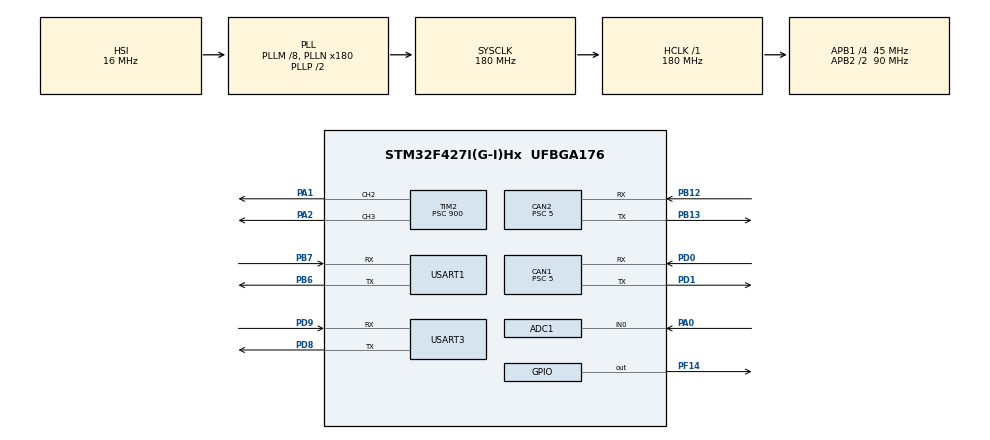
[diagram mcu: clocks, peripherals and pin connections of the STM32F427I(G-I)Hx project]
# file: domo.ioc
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ADC1.Channel-2\#ChannelRegularConversion=ADC_CHANNEL_0
ADC1.NbrOfConversionFlag=1
ADC1.Rank-2\#ChannelRegularConversion=1
ADC1.SamplingTime-2\#ChannelRegularConversion=ADC_SAMPLETIME_3CYCLES
ADC1.master=1
CAN1.BS1=CAN_BS1_3TQ
CAN1.BS2=CAN_BS2_5TQ
CAN1.CalculateBaudRate=1000000
CAN1.CalculateTimeBit=1000
CAN1.CalculateTimeQuantum=111.11111111111111
CAN1.Prescaler=5
CAN2.ABOM=ENABLE
CAN2.BS1=CAN_BS1_3TQ
CAN2.BS2=CAN_BS2_5TQ
CAN2.CalculateBaudRate=1000000
CAN2.CalculateTimeBit=1000
CAN2.CalculateTimeQuantum=111.11111111111111
CAN2.Prescaler=5
Dma.Request0=USART1_RX
Dma.USART1_RX.0.Direction=DMA_PERIPH_TO_MEMORY
Dma.USART1_RX.0.FIFOMode=DMA_FIFOMODE_DISABLE
Dma.USART1_RX.0.Instance=DMA2_Stream2
Dma.USART1_RX.0.MemDataAlignment=DMA_MDATAALIGN_BYTE
Dma.USART1_RX.0.MemInc=DMA_MINC_ENABLE
Dma.USART1_RX.0.Mode=DMA_CIRCULAR
Dma.USART1_RX.0.PeriphDataAlignment=DMA_PDATAALIGN_BYTE
Dma.USART1_RX.0.PeriphInc=DMA_PINC_DISABLE
Dma.USART1_RX.0.Priority=DMA_PRIORITY_MEDIUM
FREERTOS.Tasks01=defaultTask,24,128,StartDefaultTask,Default,NULL,Dynamic,NULL,NULL;myTask02,8,128,StartTask02,Default,NULL,Dynamic,NULL,NULL;myTask03,8,128,StartTask03,Default,NULL,Dynamic,NULL,NULL
Mcu.Family=STM32F4
Mcu.Name=STM32F427I(G-I)Hx
Mcu.Package=UFBGA176
NVIC.CAN1_RX0_IRQn=true\:5\:0\:false\:false\:true\:true\:true\:true\:true
NVIC.CAN1_TX_IRQn=true\:5\:0\:false\:false\:true\:true\:true\:true\:true
NVIC.CAN2_RX0_IRQn=true\:5\:0\:false\:false\:true\:true\:true\:true\:true
NVIC.CAN2_TX_IRQn=true\:5\:0\:false\:false\:true\:true\:true\:true\:true
NVIC.DMA2_Stream2_IRQn=true\:5\:0\:false\:false\:true\:true\:false\:true\:true
NVIC.PriorityGroup=NVIC_PRIORITYGROUP_4
NVIC.TIM6_DAC_IRQn=true\:15\:0\:false\:false\:true\:false\:false\:true\:true
NVIC.TimeBase=TIM6_DAC_IRQn
NVIC.TimeBaseIP=TIM6
NVIC.USART1_IRQn=true\:5\:0\:false\:false\:true\:true\:true\:true\:true
PA0/WKUP.Signal=ADCx_IN0
PA1.Signal=S_TIM2_CH2
PA13.Mode=Serial_Wire
PA13.Signal=SYS_JTMS-SWDIO
PA14.Mode=Serial_Wire
PA14.Signal=SYS_JTCK-SWCLK
PA2.Signal=S_TIM2_CH3
PB12.Mode=CAN_Activate
PB12.Signal=CAN2_RX
PB13.Mode=CAN_Activate
PB13.Signal=CAN2_TX
PB6.Mode=Asynchronous
PB6.Signal=USART1_TX
PB7.Mode=Asynchronous
PB7.Signal=USART1_RX
PD0.Mode=CAN_Activate
PD0.Signal=CAN1_RX
PD1.Mode=CAN_Activate
PD1.Signal=CAN1_TX
PD8.Mode=Asynchronous
PD8.Signal=USART3_TX
PD9.Mode=Asynchronous
PD9.Signal=USART3_RX
PF14.GPIO_ModeDefaultOutputPP=GPIO_MODE_OUTPUT_PP
PF14.GPIO_PuPd=GPIO_PULLDOWN
PF14.Signal=GPIO_Output
PH0/OSC_IN.Mode=HSE-External-Oscillator
PH0/OSC_IN.Signal=RCC_OSC_IN
PH1/OSC_OUT.Mode=HSE-External-Oscillator
PH1/OSC_OUT.Signal=RCC_OSC_OUT
ProjectManager.HeapSize=0x200
ProjectManager.StackSize=0x400
ProjectManager.TargetToolchain=MDK-ARM V5.32
RCC.48MHZClocksFreq_Value=90000000
RCC.AHBFreq_Value=180000000
RCC.APB1CLKDivider=RCC_HCLK_DIV4
RCC.APB1Freq_Value=45000000
RCC.APB1TimFreq_Value=90000000
RCC.APB2CLKDivider=RCC_HCLK_DIV2
RCC.APB2Freq_Value=90000000
RCC.APB2TimFreq_Value=180000000
RCC.CortexFreq_Value=180000000
RCC.HCLKFreq_Value=180000000
RCC.HSE_VALUE=25000000
RCC.HSI_VALUE=16000000
RCC.LSE_VALUE=32768
RCC.PLLM=8
RCC.PLLN=180
RCC.SYSCLKFreq_VALUE=180000000
RCC.SYSCLKSource=RCC_SYSCLKSOURCE_PLLCLK
RCC.VCOOutputFreq_Value=360000000
SH.ADCx_IN0.0=ADC1_IN0,IN0
SH.S_TIM2_CH2.0=TIM2_CH2,PWM Generation2 CH2
SH.S_TIM2_CH3.0=TIM2_CH3,PWM Generation3 CH3
TIM2.Channel-PWM\ Generation2\ CH2=TIM_CHANNEL_2
TIM2.Channel-PWM\ Generation3\ CH3=TIM_CHANNEL_3
TIM2.Period=2000
TIM2.Prescaler=900
USART1.VirtualMode=VM_ASYNC
USART3.VirtualMode=VM_ASYNC
VP_FREERTOS_VS_CMSIS_V2.Mode=CMSIS_V2
VP_SYS_VS_tim6.Mode=TIM6
board=custom

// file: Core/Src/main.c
/* USER CODE BEGIN Header */
/**
  ******************************************************************************
  * @file           : main.c
  * @brief          : Main program body
  ******************************************************************************
  * @attention
  *
  * Copyright (c) 2023 STMicroelectronics.
  * All rights reserved.
  *
  * This software is licensed under terms that can be found in the LICENSE file
  * in the root directory of this software component.
  * If no LICENSE file comes with this software, it is provided AS-IS.
  *
  ******************************************************************************
  */
/* USER CODE END Header */
#include "main.h"
#include "cmsis_os.h"
#include "adc.h"
#include "can.h"
#include "dma.h"
#include "tim.h"
#include "usart.h"
#include "gpio.h"

/* USER CODE BEGIN Includes */
#include "stdio.h"
uint8_t receive_buff[100];
//��дprintf
int fputc(int ch,FILE *f)
{
    uint8_t temp[1]= {ch};
    HAL_UART_Transmit(&huart3,temp,1,2);
		return ch;
}

/* USER CODE END Includes */

void SystemClock_Config(void);
void MX_FREERTOS_Init(void);

int main(void)
{

  /* MCU Configuration--------------------------------------------------------*/

  /* Reset of all peripherals, Initializes the Flash interface and the Systick. */
  HAL_Init();

  /* Configure the system clock */
  SystemClock_Config();

  /* Initialize all configured peripherals */
  MX_GPIO_Init();
  MX_DMA_Init();
  MX_CAN1_Init();
  MX_CAN2_Init();
  MX_USART3_UART_Init();
  MX_USART1_UART_Init();
  MX_ADC1_Init();
  MX_TIM2_Init();
  /* USER CODE BEGIN 2 */
	    //����ҪADУ׼
  /* USER CODE END 2 */

  /* Init scheduler */
  osKernelInitialize();  /* Call init function for freertos objects (in freertos.c) */
  MX_FREERTOS_Init();

  /* Start scheduler */
  osKernelStart();

  /* We should never get here as control is now taken by the scheduler */
  /* Infinite loop */
  while (1)
  {

  }
}

void SystemClock_Config(void)
{
  RCC_OscInitTypeDef RCC_OscInitStruct = {0};
  RCC_ClkInitTypeDef RCC_ClkInitStruct = {0};

  /** Configure the main internal regulator output voltage
  */
  __HAL_RCC_PWR_CLK_ENABLE();
  __HAL_PWR_VOLTAGESCALING_CONFIG(PWR_REGULATOR_VOLTAGE_SCALE1);

  /** Initializes the RCC Oscillators according to the specified parameters
  * in the RCC_OscInitTypeDef structure.
  */
  RCC_OscInitStruct.OscillatorType = RCC_OSCILLATORTYPE_HSI;
  RCC_OscInitStruct.HSIState = RCC_HSI_ON;
  RCC_OscInitStruct.HSICalibrationValue = RCC_HSICALIBRATION_DEFAULT;
  RCC_OscInitStruct.PLL.PLLState = RCC_PLL_ON;
  RCC_OscInitStruct.PLL.PLLSource = RCC_PLLSOURCE_HSI;
  RCC_OscInitStruct.PLL.PLLM = 8;
  RCC_OscInitStruct.PLL.PLLN = 180;
  RCC_OscInitStruct.PLL.PLLP = RCC_PLLP_DIV2;
  RCC_OscInitStruct.PLL.PLLQ = 4;
  if (HAL_RCC_OscConfig(&RCC_OscInitStruct) != HAL_OK)
  {
    Error_Handler();
  }

  /** Activate the Over-Drive mode
  */
  if (HAL_PWREx_EnableOverDrive() != HAL_OK)
  {
    Error_Handler();
  }

  /** Initializes the CPU, AHB and APB buses clocks
  */
  RCC_ClkInitStruct.ClockType = RCC_CLOCKTYPE_HCLK|RCC_CLOCKTYPE_SYSCLK
                              |RCC_CLOCKTYPE_PCLK1|RCC_CLOCKTYPE_PCLK2;
  RCC_ClkInitStruct.SYSCLKSource = RCC_SYSCLKSOURCE_PLLCLK;
  RCC_ClkInitStruct.AHBCLKDivider = RCC_SYSCLK_DIV1;
  RCC_ClkInitStruct.APB1CLKDivider = RCC_HCLK_DIV4;
  RCC_ClkInitStruct.APB2CLKDivider = RCC_HCLK_DIV2;

  if (HAL_RCC_ClockConfig(&RCC_ClkInitStruct, FLASH_LATENCY_5) != HAL_OK)
  {
    Error_Handler();
  }
}

void HAL_TIM_PeriodElapsedCallback(TIM_HandleTypeDef *htim)
{
  if (htim->Instance == TIM6) {
    HAL_IncTick();
  }
}

void Error_Handler(void)
{
  __disable_irq();
  while (1)
  {
  }
}

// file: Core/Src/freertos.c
/* USER CODE BEGIN Header */
/**
  ******************************************************************************
  * File Name          : freertos.c
  * Description        : Code for freertos applications
  ******************************************************************************
  * @attention
  *
  * Copyright (c) 2023 STMicroelectronics.
  * All rights reserved.
  *
  * This software is licensed under terms that can be found in the LICENSE file
  * in the root directory of this software component.
  * If no LICENSE file comes with this software, it is provided AS-IS.
  *
  ******************************************************************************
  */
/* USER CODE END Header */

#include "FreeRTOS.h"
#include "task.h"
#include "main.h"
#include "cmsis_os.h"

/* USER CODE BEGIN Includes */
#include "stdio.h"
#include "bsp_can.h"
#include "pid.h"
#include "motor.h"
#include "can.h"
#include "adc_angle.h"
#include "adc.h"
#include "duoji_yuntai.h"
#include "usart.h"

extern uint8_t receive_buff[100];
float adc_angle=0;
 float angle1_target=0;
 float angle2_target=0;
extern Speed_wheel S_wheel[2];
/* USER CODE END Includes */

/* Definitions for defaultTask */
osThreadId_t defaultTaskHandle;
const osThreadAttr_t defaultTask_attributes = {
  .name = "defaultTask",
  .stack_size = 128 * 4,
  .priority = (osPriority_t) osPriorityNormal,
};
/* Definitions for myTask02 */
osThreadId_t myTask02Handle;
const osThreadAttr_t myTask02_attributes = {
  .name = "myTask02",
  .stack_size = 128 * 4,
  .priority = (osPriority_t) osPriorityLow,
};
/* Definitions for myTask03 */
osThreadId_t myTask03Handle;
const osThreadAttr_t myTask03_attributes = {
  .name = "myTask03",
  .stack_size = 128 * 4,
  .priority = (osPriority_t) osPriorityLow,
};

void StartDefaultTask(void *argument);
void StartTask02(void *argument);
void StartTask03(void *argument);

void MX_FREERTOS_Init(void); /* (MISRA C 2004 rule 8.1) */

void MX_FREERTOS_Init(void) {

  /* Create the thread(s) */
  /* creation of defaultTask */
  defaultTaskHandle = osThreadNew(StartDefaultTask, NULL, &defaultTask_attributes);

  /* creation of myTask02 */
  myTask02Handle = osThreadNew(StartTask02, NULL, &myTask02_attributes);

  /* creation of myTask03 */
  myTask03Handle = osThreadNew(StartTask03, NULL, &myTask03_attributes);

}

void StartDefaultTask(void *argument)
{
  /* USER CODE BEGIN StartDefaultTask */
	my_can_filter_init_recv_all(&hcan1);
  can_filter_recv_special(&hcan2);
	Wheel_Init();//
	duoji_yuntai_init();
	osDelay(10);
  /* Infinite loop */
  for(;;)
  {

//		 HAL_UART_Receive(&huart3,receive_buff,10,0xff);
//		if(receive_buff[0] != 0)
//      {
//          printf("recive buff is %d \r\n",(receive_buff[0]-'0')*10+(receive_buff[1]-'0'));
//					set_yuntai_angle(0,(receive_buff[0]-'0')*10+(receive_buff[1]-'0'));
    //      memset(receive_buff,0,20); // 清除接收内容
//      }

		Trans(receive_buff,&angle1_target,&angle2_target);
		HAL_GPIO_TogglePin(GPIOF,GPIO_PIN_14);
    osDelay(100);
  }
  /* USER CODE END StartDefaultTask */
}

void StartTask02(void *argument)
{
  /* USER CODE BEGIN StartTask02 */
  /* Infinite loop */
  for(;;)
  {
		get_adc_angle(&hadc1,&adc_angle);
		//printf("%f,%f\n",motor_can1[0].total_angle/8192.0/36*360, adc_angle);
    osDelay(10);
  }
  /* USER CODE END StartTask02 */
}

void StartTask03(void *argument)
{
  /* USER CODE BEGIN StartTask03 */
  /* Infinite loop */
  for(;;)
  {

		setMotors_location(360.0,360.0);
    osDelay(10);
  }
  /* USER CODE END StartTask03 */
}
